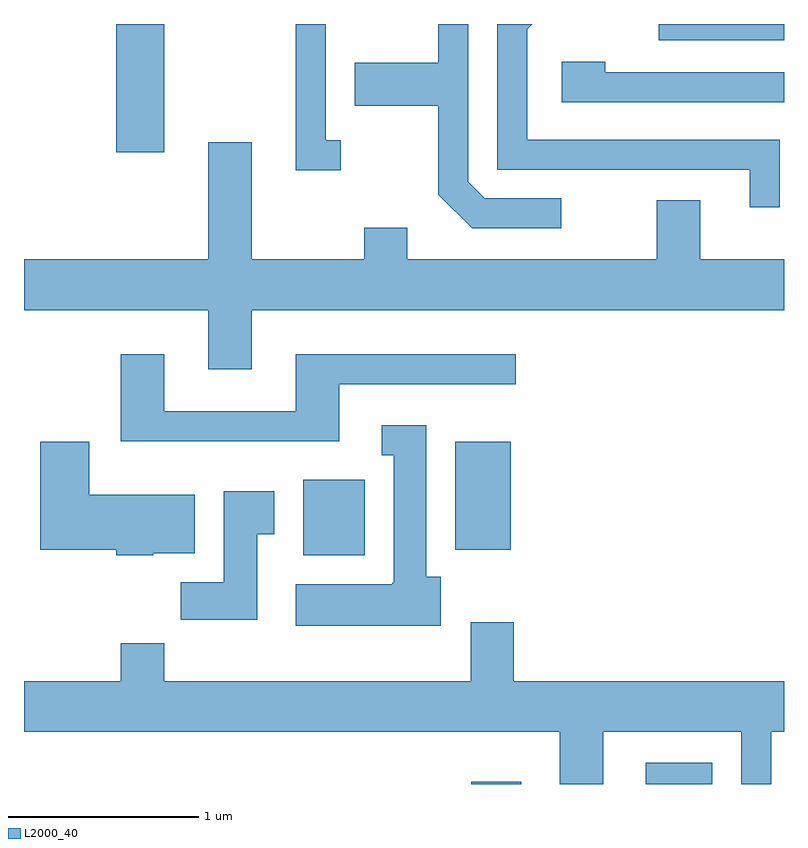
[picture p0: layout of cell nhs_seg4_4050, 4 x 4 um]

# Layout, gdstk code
import gdstk
lib = gdstk.Library(unit=1e-6, precision=1e-09)
def R(c, l, rs):  # rectangles x0, y0, x1, y1
    for r in rs: c.add(gdstk.rectangle(r[:2], r[2:], *l))
def P(c, l, *ps):  # polygons
    for p in ps: c.add(gdstk.Polygon(p, *l))
L2000_40 = (2000, 40)

nhs_seg4_4050 = lib.new_cell('nhs_seg4_4050')
R(nhs_seg4_4050, L2000_40, [(305.966,1329.982,306.229,1329.994), (306.883,1329.982,307.234,1330.094), (305.081,1331.186,305.404,1331.584), (305.881,1331.216,306.174,1331.784), (304.096,1333.306,304.349,1333.982), (306.953,1333.896,307.611,1333.982)])
P(nhs_seg4_4050, L2000_40, [(307.589,1333.374),(306.259,1333.374),(306.259,1333.954),(306.287,1333.982),(306.101,1333.982),(306.101,1333.216),(307.431,1333.216),(307.431,1333.018),(307.589,1333.018)],
  [(306.438,1333.064),(306.037,1333.064),(305.949,1333.152),(305.949,1333.982),(305.791,1333.982),(305.791,1333.779),(305.351,1333.779),(305.351,1333.551),(305.791,1333.551),(305.791,1333.084),(305.969,1332.906),(306.438,1332.906)],
  [(305.278,1333.369),(305.199,1333.369),(305.199,1333.982),(305.041,1333.982),(305.041,1333.211),(305.278,1333.211)],
  [(307.611,1333.729),(306.669,1333.729),(306.669,1333.784),(306.441,1333.784),(306.441,1333.571),(307.611,1333.571)],
  [(304.809,1332.476),(307.611,1332.476),(307.611,1332.744),(307.169,1332.744),(307.169,1333.054),(306.941,1333.054),(306.941,1332.744),(305.629,1332.744),(305.629,1332.909),(305.401,1332.909),(305.401,1332.744),(304.809,1332.744),(304.809,1333.359),(304.581,1333.359),(304.581,1332.744),(303.611,1332.744),(303.611,1332.476),(304.581,1332.476),(304.581,1332.166),(304.809,1332.166)],
  [(305.269,1332.086),(306.198,1332.086),(306.198,1332.244),(305.041,1332.244),(305.041,1331.944),(304.349,1331.944),(304.349,1332.244),(304.121,1332.244),(304.121,1331.786),(305.269,1331.786)],
  [(305.804,1331.074),(305.729,1331.074),(305.729,1331.869),(305.493,1331.869),(305.493,1331.711),(305.556,1331.711),(305.556,1331.04),(305.55,1331.04),(305.55,1331.034),(305.041,1331.034),(305.041,1330.816),(305.804,1330.816)],
  [(304.29,1331.196),(304.509,1331.196),(304.509,1331.504),(303.954,1331.504),(303.954,1331.784),(303.696,1331.784),(303.696,1331.216),(304.096,1331.216),(304.096,1331.186),(304.29,1331.186)],
  [(304.839,1331.296),(304.929,1331.296),(304.929,1331.524),(304.661,1331.524),(304.661,1331.044),(304.436,1331.044),(304.436,1330.846),(304.839,1330.846)],
  [(306.659,1330.256),(307.386,1330.256),(307.386,1329.982),(307.544,1329.982),(307.544,1330.256),(307.611,1330.256),(307.611,1330.524),(306.189,1330.524),(306.189,1330.834),(305.961,1330.834),(305.961,1330.524),(304.349,1330.524),(304.349,1330.724),(304.121,1330.724),(304.121,1330.524),(303.611,1330.524),(303.611,1330.256),(306.431,1330.256),(306.431,1329.982),(306.659,1329.982)])

lib.write_gds('nhs_seg4_4050.gds')
